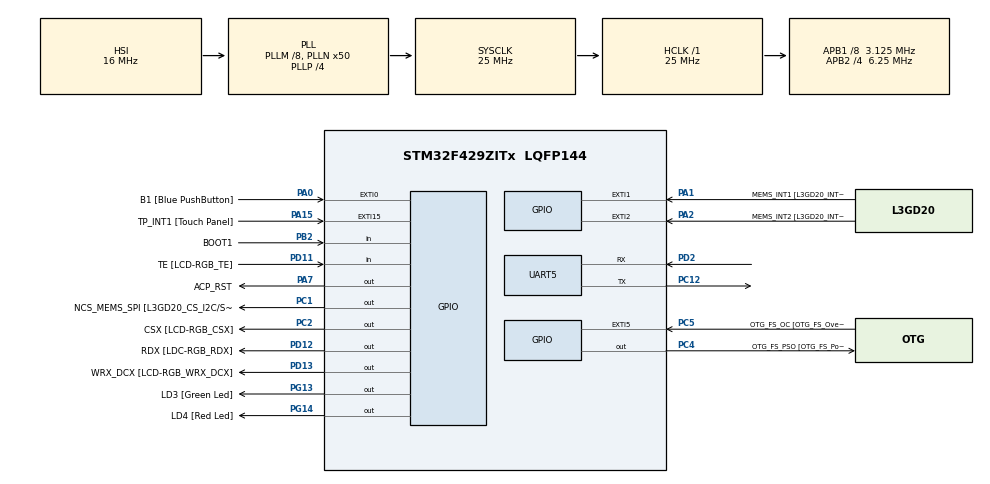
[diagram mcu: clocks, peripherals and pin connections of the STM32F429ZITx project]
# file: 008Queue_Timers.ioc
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Mcu.Family=STM32F4
Mcu.Name=STM32F429ZITx
Mcu.Package=LQFP144
NVIC.PriorityGroup=NVIC_PRIORITYGROUP_4
NVIC.TIM6_DAC_IRQn=true\:15\:0\:false\:false\:true\:false\:true\:true
NVIC.TimeBase=TIM6_DAC_IRQn
NVIC.TimeBaseIP=TIM6
NVIC.UART5_IRQn=true\:6\:0\:true\:false\:true\:true\:true\:true
PA0/WKUP.GPIO_Label=B1 [Blue PushButton]
PA0/WKUP.GPIO_ModeDefaultEXTI=GPIO_MODE_EVT_RISING
PA0/WKUP.GPIO_PuPd=GPIO_NOPULL
PA0/WKUP.Signal=GPXTI0
PA1.GPIO_Label=MEMS_INT1 [L3GD20_INT1]
PA1.GPIO_ModeDefaultEXTI=GPIO_MODE_EVT_RISING
PA1.GPIO_PuPd=GPIO_NOPULL
PA1.Signal=GPXTI1
PA10.GPIO_Label=STLINK_TX [STM32F103CBT6_PA2]
PA10.Signal=USART1_RX
PA11.GPIO_Label=R4
PA11.GPIO_Mode=GPIO_MODE_AF_PP
PA11.GPIO_PuPd=GPIO_NOPULL
PA11.GPIO_Speed=GPIO_SPEED_FREQ_LOW
PA11.Signal=LTDC_R4
PA12.GPIO_Label=R5
PA12.GPIO_Mode=GPIO_MODE_AF_PP
PA12.GPIO_PuPd=GPIO_NOPULL
PA12.GPIO_Speed=GPIO_SPEED_FREQ_LOW
PA12.Signal=LTDC_R5
PA13.GPIO_Label=SWDIO
PA13.Signal=SYS_JTMS-SWDIO
PA14.GPIO_Label=SWCLK
PA14.Signal=SYS_JTCK-SWCLK
PA15.GPIO_Label=TP_INT1 [Touch Panel]
PA15.GPIO_ModeDefaultEXTI=GPIO_MODE_EVT_RISING
PA15.GPIO_PuPd=GPIO_NOPULL
PA15.Signal=GPXTI15
PA2.GPIO_Label=MEMS_INT2 [L3GD20_INT2]
PA2.GPIO_ModeDefaultEXTI=GPIO_MODE_EVT_RISING
PA2.GPIO_PuPd=GPIO_NOPULL
PA2.Signal=GPXTI2
PA3.GPIO_Label=B5
PA3.GPIO_Mode=GPIO_MODE_AF_PP
PA3.GPIO_PuPd=GPIO_NOPULL
PA3.GPIO_Speed=GPIO_SPEED_FREQ_LOW
PA3.Signal=LTDC_B5
PA4.GPIO_Label=VSYNC
PA4.GPIO_Mode=GPIO_MODE_AF_PP
PA4.GPIO_PuPd=GPIO_NOPULL
PA4.GPIO_Speed=GPIO_SPEED_FREQ_LOW
PA4.Signal=LTDC_VSYNC
PA6.GPIO_Label=G2
PA6.GPIO_Mode=GPIO_MODE_AF_PP
PA6.GPIO_PuPd=GPIO_NOPULL
PA6.GPIO_Speed=GPIO_SPEED_FREQ_LOW
PA6.Signal=LTDC_G2
PA7.GPIO_Label=ACP_RST
PA7.GPIO_Mode=GPIO_MODE_OUTPUT_PP
PA7.GPIO_PuPd=GPIO_NOPULL
PA7.GPIO_Speed=GPIO_SPEED_FREQ_LOW
PA7.Signal=GPIO_Output
PA8.GPIO_Label=I2C3_SCL [ACP/RF_SCL]
PA8.GPIO_Mode=GPIO_MODE_AF_OD
PA8.GPIO_PuPd=GPIO_NOPULL
PA8.GPIO_Speed=GPIO_SPEED_FREQ_LOW
PA8.Signal=I2C3_SCL
PA9.GPIO_Label=STLINK_RX [STM32F103CBT6_PA3]
PA9.Signal=USART1_TX
PB0.GPIO_Label=R3
PB0.GPIO_Mode=GPIO_MODE_AF_PP
PB0.GPIO_PuPd=GPIO_NOPULL
PB0.GPIO_Speed=GPIO_SPEED_FREQ_LOW
PB0.Signal=LTDC_R3
PB1.GPIO_Label=R6
PB1.GPIO_Mode=GPIO_MODE_AF_PP
PB1.GPIO_PuPd=GPIO_NOPULL
PB1.GPIO_Speed=GPIO_SPEED_FREQ_LOW
PB1.Signal=LTDC_R6
PB10.GPIO_Label=G4
PB10.GPIO_Mode=GPIO_MODE_AF_PP
PB10.GPIO_PuPd=GPIO_NOPULL
PB10.GPIO_Speed=GPIO_SPEED_FREQ_LOW
PB10.Signal=LTDC_G4
PB11.GPIO_Label=G5
PB11.GPIO_Mode=GPIO_MODE_AF_PP
PB11.GPIO_PuPd=GPIO_NOPULL
PB11.GPIO_Speed=GPIO_SPEED_FREQ_LOW
PB11.Signal=LTDC_G5
PB12.GPIO_Label=OTG_HS_ID
PB12.GPIO_Mode=GPIO_MODE_AF_PP
PB12.GPIO_PuPd=GPIO_NOPULL
PB12.GPIO_Speed=GPIO_SPEED_FREQ_LOW
PB12.Signal=USB_OTG_HS_ID
PB13.GPIO_Label=VBUS_HS
PB13.GPIO_Mode=GPIO_MODE_INPUT
PB13.GPIO_PuPd=GPIO_NOPULL
PB13.Signal=USB_OTG_HS_VBUS
PB14.GPIO_Label=OTG_HS_DM
PB14.GPIO_Mode=GPIO_MODE_AF_PP
PB14.GPIO_PuPd=GPIO_NOPULL
PB14.GPIO_Speed=GPIO_SPEED_FREQ_LOW
PB14.Signal=USB_OTG_HS_DM
PB15.GPIO_Label=OTG_HS_DP
PB15.GPIO_Mode=GPIO_MODE_AF_PP
PB15.GPIO_PuPd=GPIO_NOPULL
PB15.GPIO_Speed=GPIO_SPEED_FREQ_LOW
PB15.Signal=USB_OTG_HS_DP
PB2/BOOT1.GPIO_Label=BOOT1
PB2/BOOT1.GPIO_Mode=GPIO_MODE_INPUT
PB2/BOOT1.GPIO_PuPd=GPIO_NOPULL
PB2/BOOT1.Signal=GPIO_Input
PB5.GPIO_Label=SDCKE1
PB5.GPIO_Mode=GPIO_MODE_AF_PP
PB5.GPIO_PuPd=GPIO_NOPULL
PB5.GPIO_Speed=GPIO_SPEED_FREQ_VERY_HIGH
PB5.Signal=FMC_SDCKE1
PB6.GPIO_Label=SDNE1 [SDRAM_CS]
PB6.GPIO_Mode=GPIO_MODE_AF_PP
PB6.GPIO_PuPd=GPIO_NOPULL
PB6.GPIO_Speed=GPIO_SPEED_FREQ_VERY_HIGH
PB6.Signal=FMC_SDNE1
PB8.GPIO_Label=B6
PB8.GPIO_Mode=GPIO_MODE_AF_PP
PB8.GPIO_PuPd=GPIO_NOPULL
PB8.GPIO_Speed=GPIO_SPEED_FREQ_LOW
PB8.Signal=LTDC_B6
PB9.GPIO_Label=B7
PB9.GPIO_Mode=GPIO_MODE_AF_PP
PB9.GPIO_PuPd=GPIO_NOPULL
PB9.GPIO_Speed=GPIO_SPEED_FREQ_LOW
PB9.Signal=LTDC_B7
PC0.GPIO_Label=SDNWE
PC0.GPIO_Mode=GPIO_MODE_AF_PP
PC0.GPIO_PuPd=GPIO_NOPULL
PC0.GPIO_Speed=GPIO_SPEED_FREQ_VERY_HIGH
PC0.Signal=FMC_SDNWE
PC1.GPIO_Label=NCS_MEMS_SPI [L3GD20_CS_I2C/SPI]
PC1.GPIO_Mode=GPIO_MODE_OUTPUT_PP
PC1.GPIO_PuPd=GPIO_NOPULL
PC1.GPIO_Speed=GPIO_SPEED_FREQ_LOW
PC1.Signal=GPIO_Output
PC10.GPIO_Label=R2
PC10.GPIO_Mode=GPIO_MODE_AF_PP
PC10.GPIO_PuPd=GPIO_NOPULL
PC10.GPIO_Speed=GPIO_SPEED_FREQ_LOW
PC10.Signal=LTDC_R2
PC12.Mode=Asynchronous
PC12.Signal=UART5_TX
PC14/OSC32_IN.GPIO_Label=PC14-OSC32_IN
PC14/OSC32_IN.Signal=RCC_OSC32_IN
PC15/OSC32_OUT.GPIO_Label=PC15-OSC32_OUT
PC15/OSC32_OUT.Signal=RCC_OSC32_OUT
PC2.GPIO_Label=CSX [LCD-RGB_CSX]
PC2.GPIO_Mode=GPIO_MODE_OUTPUT_PP
PC2.GPIO_PuPd=GPIO_NOPULL
PC2.GPIO_Speed=GPIO_SPEED_FREQ_LOW
PC2.Signal=GPIO_Output
PC4.GPIO_Label=OTG_FS_PSO [OTG_FS_PowerSwitchOn]
PC4.GPIO_Mode=GPIO_MODE_OUTPUT_PP
PC4.GPIO_PuPd=GPIO_NOPULL
PC4.GPIO_Speed=GPIO_SPEED_FREQ_LOW
PC4.Signal=GPIO_Output
PC5.GPIO_Label=OTG_FS_OC [OTG_FS_OverCurrent]
PC5.GPIO_ModeDefaultEXTI=GPIO_MODE_EVT_RISING
PC5.Signal=GPXTI5
PC6.GPIO_Label=HSYNC
PC6.GPIO_Mode=GPIO_MODE_AF_PP
PC6.GPIO_PuPd=GPIO_NOPULL
PC6.GPIO_Speed=GPIO_SPEED_FREQ_LOW
PC6.Signal=LTDC_HSYNC
PC7.GPIO_Label=G6
PC7.GPIO_Mode=GPIO_MODE_AF_PP
PC7.GPIO_PuPd=GPIO_NOPULL
PC7.GPIO_Speed=GPIO_SPEED_FREQ_LOW
PC7.Signal=LTDC_G6
PC9.GPIO_Label=I2C3_SDA [ACP/RF_SDA]
PC9.GPIO_Mode=GPIO_MODE_AF_OD
PC9.GPIO_PuPd=GPIO_NOPULL
PC9.GPIO_Speed=GPIO_SPEED_FREQ_LOW
PC9.Signal=I2C3_SDA
PD0.GPIO_Label=D2
PD0.GPIO_Mode=GPIO_MODE_AF_PP
PD0.GPIO_PuPd=GPIO_NOPULL
PD0.GPIO_Speed=GPIO_SPEED_FREQ_VERY_HIGH
PD0.Signal=FMC_D2_DA2
PD1.GPIO_Label=D3
PD1.GPIO_Mode=GPIO_MODE_AF_PP
PD1.GPIO_PuPd=GPIO_NOPULL
PD1.GPIO_Speed=GPIO_SPEED_FREQ_VERY_HIGH
PD1.Signal=FMC_D3_DA3
PD10.GPIO_Label=D15
PD10.GPIO_Mode=GPIO_MODE_AF_PP
PD10.GPIO_PuPd=GPIO_NOPULL
PD10.GPIO_Speed=GPIO_SPEED_FREQ_VERY_HIGH
PD10.Signal=FMC_D15_DA15
PD11.GPIO_Label=TE [LCD-RGB_TE]
PD11.GPIO_Mode=GPIO_MODE_INPUT
PD11.GPIO_PuPd=GPIO_NOPULL
PD11.Signal=GPIO_Input
PD12.GPIO_Label=RDX [LDC-RGB_RDX]
PD12.GPIO_Mode=GPIO_MODE_OUTPUT_PP
PD12.GPIO_PuPd=GPIO_NOPULL
PD12.GPIO_Speed=GPIO_SPEED_FREQ_LOW
PD12.Signal=GPIO_Output
PD13.GPIO_Label=WRX_DCX [LCD-RGB_WRX_DCX]
PD13.GPIO_Mode=GPIO_MODE_OUTPUT_PP
PD13.GPIO_PuPd=GPIO_NOPULL
PD13.GPIO_Speed=GPIO_SPEED_FREQ_LOW
PD13.Signal=GPIO_Output
PD14.GPIO_Label=D0
PD14.GPIO_Mode=GPIO_MODE_AF_PP
PD14.GPIO_PuPd=GPIO_NOPULL
PD14.GPIO_Speed=GPIO_SPEED_FREQ_VERY_HIGH
PD14.Signal=FMC_D0_DA0
PD15.GPIO_Label=D1
PD15.GPIO_Mode=GPIO_MODE_AF_PP
PD15.GPIO_PuPd=GPIO_NOPULL
PD15.GPIO_Speed=GPIO_SPEED_FREQ_VERY_HIGH
PD15.Signal=FMC_D1_DA1
PD2.Mode=Asynchronous
PD2.Signal=UART5_RX
PD3.GPIO_Label=G7
PD3.GPIO_Mode=GPIO_MODE_AF_PP
PD3.GPIO_PuPd=GPIO_NOPULL
PD3.GPIO_Speed=GPIO_SPEED_FREQ_LOW
PD3.Signal=LTDC_G7
PD6.GPIO_Label=B2
PD6.GPIO_Mode=GPIO_MODE_AF_PP
PD6.GPIO_PuPd=GPIO_NOPULL
PD6.GPIO_Speed=GPIO_SPEED_FREQ_LOW
PD6.Signal=LTDC_B2
PD8.GPIO_Label=D13
PD8.GPIO_Mode=GPIO_MODE_AF_PP
PD8.GPIO_PuPd=GPIO_NOPULL
PD8.GPIO_Speed=GPIO_SPEED_FREQ_VERY_HIGH
PD8.Signal=FMC_D13_DA13
PD9.GPIO_Label=D14
PD9.GPIO_Mode=GPIO_MODE_AF_PP
PD9.GPIO_PuPd=GPIO_NOPULL
PD9.GPIO_Speed=GPIO_SPEED_FREQ_VERY_HIGH
PD9.Signal=FMC_D14_DA14
PE0.GPIO_Label=NBL0 [SDRAM_LDQM]
PE0.GPIO_Mode=GPIO_MODE_AF_PP
PE0.GPIO_PuPd=GPIO_NOPULL
PE0.GPIO_Speed=GPIO_SPEED_FREQ_VERY_HIGH
PE0.Signal=FMC_NBL0
PE1.GPIO_Label=NBL1 [SDRAM_UDQM]
PE1.GPIO_Mode=GPIO_MODE_AF_PP
PE1.GPIO_PuPd=GPIO_NOPULL
PE1.GPIO_Speed=GPIO_SPEED_FREQ_VERY_HIGH
PE1.Signal=FMC_NBL1
PE10.GPIO_Label=D7
PE10.GPIO_Mode=GPIO_MODE_AF_PP
PE10.GPIO_PuPd=GPIO_NOPULL
PE10.GPIO_Speed=GPIO_SPEED_FREQ_VERY_HIGH
PE10.Signal=FMC_D7_DA7
PE11.GPIO_Label=D8
PE11.GPIO_Mode=GPIO_MODE_AF_PP
PE11.GPIO_PuPd=GPIO_NOPULL
PE11.GPIO_Speed=GPIO_SPEED_FREQ_VERY_HIGH
PE11.Signal=FMC_D8_DA8
PE12.GPIO_Label=D9
PE12.GPIO_Mode=GPIO_MODE_AF_PP
PE12.GPIO_PuPd=GPIO_NOPULL
PE12.GPIO_Speed=GPIO_SPEED_FREQ_VERY_HIGH
PE12.Signal=FMC_D9_DA9
PE13.GPIO_Label=D10
PE13.GPIO_Mode=GPIO_MODE_AF_PP
PE13.GPIO_PuPd=GPIO_NOPULL
PE13.GPIO_Speed=GPIO_SPEED_FREQ_VERY_HIGH
PE13.Signal=FMC_D10_DA10
PE14.GPIO_Label=D11
PE14.GPIO_Mode=GPIO_MODE_AF_PP
PE14.GPIO_PuPd=GPIO_NOPULL
PE14.GPIO_Speed=GPIO_SPEED_FREQ_VERY_HIGH
PE14.Signal=FMC_D11_DA11
PE15.GPIO_Label=D12
PE15.GPIO_Mode=GPIO_MODE_AF_PP
PE15.GPIO_PuPd=GPIO_NOPULL
PE15.GPIO_Speed=GPIO_SPEED_FREQ_VERY_HIGH
PE15.Signal=FMC_D12_DA12
PE7.GPIO_Label=D4
PE7.GPIO_Mode=GPIO_MODE_AF_PP
PE7.GPIO_PuPd=GPIO_NOPULL
PE7.GPIO_Speed=GPIO_SPEED_FREQ_VERY_HIGH
PE7.Signal=FMC_D4_DA4
PE8.GPIO_Label=D5
PE8.GPIO_Mode=GPIO_MODE_AF_PP
PE8.GPIO_PuPd=GPIO_NOPULL
PE8.GPIO_Speed=GPIO_SPEED_FREQ_VERY_HIGH
PE8.Signal=FMC_D5_DA5
PE9.GPIO_Label=D6
PE9.GPIO_Mode=GPIO_MODE_AF_PP
PE9.GPIO_PuPd=GPIO_NOPULL
PE9.GPIO_Speed=GPIO_SPEED_FREQ_VERY_HIGH
PE9.Signal=FMC_D6_DA6
PF0.GPIO_Label=A0
PF0.GPIO_Mode=GPIO_MODE_AF_PP
PF0.GPIO_PuPd=GPIO_NOPULL
PF0.GPIO_Speed=GPIO_SPEED_FREQ_VERY_HIGH
PF0.Signal=FMC_A0
PF1.GPIO_Label=A1
PF1.GPIO_Mode=GPIO_MODE_AF_PP
PF1.GPIO_PuPd=GPIO_NOPULL
PF1.GPIO_Speed=GPIO_SPEED_FREQ_VERY_HIGH
PF1.Signal=FMC_A1
PF10.GPIO_Label=ENABLE [LCD-RGB_ENABLE]
PF10.GPIO_Mode=GPIO_MODE_AF_PP
PF10.GPIO_PuPd=GPIO_NOPULL
PF10.GPIO_Speed=GPIO_SPEED_FREQ_LOW
PF10.Signal=LTDC_DE
PF11.GPIO_Label=SDNRAS
PF11.GPIO_Mode=GPIO_MODE_AF_PP
PF11.GPIO_PuPd=GPIO_NOPULL
PF11.GPIO_Speed=GPIO_SPEED_FREQ_VERY_HIGH
PF11.Signal=FMC_SDNRAS
PF12.GPIO_Label=A6
PF12.GPIO_Mode=GPIO_MODE_AF_PP
PF12.GPIO_PuPd=GPIO_NOPULL
PF12.GPIO_Speed=GPIO_SPEED_FREQ_VERY_HIGH
PF12.Signal=FMC_A6
PF13.GPIO_Label=A7
PF13.GPIO_Mode=GPIO_MODE_AF_PP
PF13.GPIO_PuPd=GPIO_NOPULL
PF13.GPIO_Speed=GPIO_SPEED_FREQ_VERY_HIGH
PF13.Signal=FMC_A7
PF14.GPIO_Label=A8
PF14.GPIO_Mode=GPIO_MODE_AF_PP
PF14.GPIO_PuPd=GPIO_NOPULL
PF14.GPIO_Speed=GPIO_SPEED_FREQ_VERY_HIGH
PF14.Signal=FMC_A8
PF15.GPIO_Label=A9
PF15.GPIO_Mode=GPIO_MODE_AF_PP
PF15.GPIO_PuPd=GPIO_NOPULL
PF15.GPIO_Speed=GPIO_SPEED_FREQ_VERY_HIGH
PF15.Signal=FMC_A9
PF2.GPIO_Label=A2
PF2.GPIO_Mode=GPIO_MODE_AF_PP
PF2.GPIO_PuPd=GPIO_NOPULL
PF2.GPIO_Speed=GPIO_SPEED_FREQ_VERY_HIGH
PF2.Signal=FMC_A2
PF3.GPIO_Label=A3
PF3.GPIO_Mode=GPIO_MODE_AF_PP
PF3.GPIO_PuPd=GPIO_NOPULL
PF3.GPIO_Speed=GPIO_SPEED_FREQ_VERY_HIGH
PF3.Signal=FMC_A3
PF4.GPIO_Label=A4
PF4.GPIO_Mode=GPIO_MODE_AF_PP
PF4.GPIO_PuPd=GPIO_NOPULL
PF4.GPIO_Speed=GPIO_SPEED_FREQ_VERY_HIGH
PF4.Signal=FMC_A4
PF5.GPIO_Label=A5
PF5.GPIO_Mode=GPIO_MODE_AF_PP
PF5.GPIO_PuPd=GPIO_NOPULL
PF5.GPIO_Speed=GPIO_SPEED_FREQ_VERY_HIGH
PF5.Signal=FMC_A5
PF7.GPIO_Label=SPI5_SCK [L3GD20_SCL/SPC]
PF7.GPIO_Mode=GPIO_MODE_AF_PP
PF7.GPIO_PuPd=GPIO_NOPULL
PF7.GPIO_Speed=GPIO_SPEED_FREQ_LOW
PF7.Signal=SPI5_SCK
PF8.GPIO_Label=SPI5_MISO [L3GD20_SDO]
PF8.GPIO_Mode=GPIO_MODE_AF_PP
PF8.GPIO_PuPd=GPIO_NOPULL
PF8.GPIO_Speed=GPIO_SPEED_FREQ_LOW
PF8.Signal=SPI5_MISO
PF9.GPIO_Label=SPI5_MOSI [L3GD20_SDA/SDI/SDO]
PF9.GPIO_Mode=GPIO_MODE_AF_PP
PF9.GPIO_PuPd=GPIO_NOPULL
PF9.GPIO_Speed=GPIO_SPEED_FREQ_LOW
PF9.Signal=SPI5_MOSI
PG0.GPIO_Label=A10
PG0.GPIO_Mode=GPIO_MODE_AF_PP
PG0.GPIO_PuPd=GPIO_NOPULL
PG0.GPIO_Speed=GPIO_SPEED_FREQ_VERY_HIGH
PG0.Signal=FMC_A10
PG1.GPIO_Label=A11
PG1.GPIO_Mode=GPIO_MODE_AF_PP
PG1.GPIO_PuPd=GPIO_NOPULL
PG1.GPIO_Speed=GPIO_SPEED_FREQ_VERY_HIGH
PG1.Signal=FMC_A11
PG10.GPIO_Label=G3
PG10.GPIO_Mode=GPIO_MODE_AF_PP
PG10.GPIO_PuPd=GPIO_NOPULL
PG10.GPIO_Speed=GPIO_SPEED_FREQ_LOW
PG10.Signal=LTDC_G3
PG11.GPIO_Label=B3
PG11.GPIO_Mode=GPIO_MODE_AF_PP
PG11.GPIO_PuPd=GPIO_NOPULL
PG11.GPIO_Speed=GPIO_SPEED_FREQ_LOW
PG11.Signal=LTDC_B3
PG12.GPIO_Label=B4
PG12.GPIO_Mode=GPIO_MODE_AF_PP
PG12.GPIO_PuPd=GPIO_NOPULL
PG12.GPIO_Speed=GPIO_SPEED_FREQ_LOW
PG12.Signal=LTDC_B4
PG13.GPIO_Label=LD3 [Green Led]
PG13.GPIO_Mode=GPIO_MODE_OUTPUT_PP
PG13.GPIO_PuPd=GPIO_NOPULL
PG13.GPIO_Speed=GPIO_SPEED_FREQ_LOW
PG13.Signal=GPIO_Output
PG14.GPIO_Label=LD4 [Red Led]
PG14.GPIO_Mode=GPIO_MODE_OUTPUT_PP
PG14.GPIO_PuPd=GPIO_NOPULL
PG14.GPIO_Speed=GPIO_SPEED_FREQ_LOW
PG14.Signal=GPIO_Output
PG15.GPIO_Label=SDNCAS
PG15.GPIO_Mode=GPIO_MODE_AF_PP
PG15.GPIO_PuPd=GPIO_NOPULL
PG15.GPIO_Speed=GPIO_SPEED_FREQ_VERY_HIGH
PG15.Signal=FMC_SDNCAS
PG4.GPIO_Label=BA0
PG4.GPIO_Mode=GPIO_MODE_AF_PP
PG4.GPIO_PuPd=GPIO_NOPULL
PG4.GPIO_Speed=GPIO_SPEED_FREQ_VERY_HIGH
PG4.Signal=FMC_A14_BA0
PG5.GPIO_Label=BA1
PG5.GPIO_Mode=GPIO_MODE_AF_PP
PG5.GPIO_PuPd=GPIO_NOPULL
PG5.GPIO_Speed=GPIO_SPEED_FREQ_VERY_HIGH
PG5.Signal=FMC_A15_BA1
PG6.GPIO_Label=R7
PG6.GPIO_Mode=GPIO_MODE_AF_PP
PG6.GPIO_PuPd=GPIO_NOPULL
PG6.GPIO_Speed=GPIO_SPEED_FREQ_LOW
PG6.Signal=LTDC_R7
PG7.GPIO_Label=DOTCLK [LCT-RGB_DOTCLK]
PG7.GPIO_Mode=GPIO_MODE_AF_PP
PG7.GPIO_PuPd=GPIO_NOPULL
PG7.GPIO_Speed=GPIO_SPEED_FREQ_LOW
PG7.Signal=LTDC_CLK
PG8.GPIO_Label=SDCLK
PG8.GPIO_Mode=GPIO_MODE_AF_PP
PG8.GPIO_PuPd=GPIO_NOPULL
PG8.GPIO_Speed=GPIO_SPEED_FREQ_VERY_HIGH
PG8.Signal=FMC_SDCLK
PH0/OSC_IN.GPIO_Label=PH0-OSC_IN
PH0/OSC_IN.Signal=RCC_OSC_IN
PH1/OSC_OUT.GPIO_Label=PH1-OSC_OUT
PH1/OSC_OUT.Signal=RCC_OSC_OUT
ProjectManager.HeapSize=0x200
ProjectManager.StackSize=0x400
ProjectManager.TargetToolchain=STM32CubeIDE
RCC.48MHZClocksFreq_Value=14285714.285714285
RCC.AHBFreq_Value=25000000
RCC.APB1CLKDivider=RCC_HCLK_DIV8
RCC.APB1Freq_Value=3125000
RCC.APB1TimFreq_Value=6250000
RCC.APB2CLKDivider=RCC_HCLK_DIV4
RCC.APB2Freq_Value=6250000
RCC.APB2TimFreq_Value=12500000
RCC.CortexFreq_Value=25000000
RCC.HCLKFreq_Value=25000000
RCC.HSE_VALUE=8000000
RCC.HSI_VALUE=16000000
RCC.LSE_VALUE=32768
RCC.PLLM=8
RCC.PLLN=50
RCC.PLLP=RCC_PLLP_DIV4
RCC.PLLQ=7
RCC.SYSCLKFreq_VALUE=25000000
RCC.SYSCLKSource=RCC_SYSCLKSOURCE_PLLCLK
RCC.VCOOutputFreq_Value=100000000
RTC.HourFormat=RTC_HOURFORMAT_12
SH.FMC_A0.0=FMC_A0
SH.FMC_A1.0=FMC_A1
SH.FMC_A10.0=FMC_A10
SH.FMC_A11.0=FMC_A11
SH.FMC_A14_BA0.0=FMC_BA0
SH.FMC_A15_BA1.0=FMC_BA1
SH.FMC_A2.0=FMC_A2
SH.FMC_A3.0=FMC_A3
SH.FMC_A4.0=FMC_A4
SH.FMC_A5.0=FMC_A5
SH.FMC_A6.0=FMC_A6
SH.FMC_A7.0=FMC_A7
SH.FMC_A8.0=FMC_A8
SH.FMC_A9.0=FMC_A9
SH.FMC_D0_DA0.0=FMC_D0
SH.FMC_D10_DA10.0=FMC_D10
SH.FMC_D11_DA11.0=FMC_D11
SH.FMC_D12_DA12.0=FMC_D12
SH.FMC_D13_DA13.0=FMC_D13
SH.FMC_D14_DA14.0=FMC_D14
SH.FMC_D15_DA15.0=FMC_D15
SH.FMC_D1_DA1.0=FMC_D1
SH.FMC_D2_DA2.0=FMC_D2
SH.FMC_D3_DA3.0=FMC_D3
SH.FMC_D4_DA4.0=FMC_D4
SH.FMC_D5_DA5.0=FMC_D5
SH.FMC_D6_DA6.0=FMC_D6
SH.FMC_D7_DA7.0=FMC_D7
SH.FMC_D8_DA8.0=FMC_D8
SH.FMC_D9_DA9.0=FMC_D9
SH.FMC_NBL0.0=FMC_NBL0
SH.FMC_NBL1.0=FMC_NBL1
SH.FMC_SDCLK.0=FMC_SDCLK
SH.FMC_SDNCAS.0=FMC_SDNCAS
SH.FMC_SDNRAS.0=FMC_SDNRAS
SH.FMC_SDNWE.0=FMC_SDNWE
UART5.VirtualMode=Asynchronous
VP_RTC_VS_RTC_Activate.Mode=RTC_Enabled
VP_SYS_VS_tim6.Mode=TIM6
board=STM32F429I-DISC1

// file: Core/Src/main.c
/* USER CODE BEGIN Header */
/**
  ******************************************************************************
  * @file           : main.c
  * @brief          : Main program body
  ******************************************************************************
  * @attention
  *
  * Copyright (c) 2024 STMicroelectronics.
  * All rights reserved.
  *
  * This software is licensed under terms that can be found in the LICENSE file
  * in the root directory of this software component.
  * If no LICENSE file comes with this software, it is provided AS-IS.
  *
  ******************************************************************************
  */
/* USER CODE END Header */
#include "main.h"

/* USER CODE BEGIN Includes */
#include <stdio.h>
#include "FreeRTOS.h"
#include "task.h"
#include "queue.h"
#include "timers.h"
#include "led.h"

/* USER CODE END Includes */

RTC_HandleTypeDef hrtc;

UART_HandleTypeDef huart5;

/* USER CODE BEGIN PV */

TaskHandle_t xTaskHandles[ 5 ] = {0};

//TaskHandle_t xMenuTaskHandle = NULL;
//TaskHandle_t xCmdTaskHandle = NULL;
//TaskHandle_t xPrintTaskHandle = NULL;
//TaskHandle_t xLedTaskHandle = NULL;
//TaskHandle_t xRtcTaskHandle = NULL;

QueueHandle_t xQueues[ 2 ] = {0};

UART_HandleTypeDef huart5;
uint8_t user_data = 0;

/* USER CODE END PV */

void SystemClock_Config(void);
static void MX_GPIO_Init(void);
static void MX_RTC_Init(void);
static void MX_UART5_Init(void);
/* USER CODE BEGIN PFP */

extern void menu_task(void *pvParam);
extern void cmd_handler_task(void *pvParam);
extern void print_task(void *pvParam);
extern void led_task(void *pvParam);
extern void rtc_task(void *pvParam);

/* LED timer software handles */
extern TimerHandle_t xLedTimers[ 3 ];
extern void LedEffectCallback(TimerHandle_t xTimer);

/* USER CODE END PFP */

int main(void)
{
  /* USER CODE BEGIN 1 */
  BaseType_t xReturned;
  /* USER CODE END 1 */

  /* MCU Configuration--------------------------------------------------------*/

  /* Reset of all peripherals, Initializes the Flash interface and the Systick. */
  HAL_Init();

  /* Configure the system clock */
  SystemClock_Config();

  /* Initialize all configured peripherals */
  MX_GPIO_Init();
  MX_RTC_Init();
  MX_UART5_Init();
  /* USER CODE BEGIN 2 */

  /* create tasks */
  xReturned = xTaskCreate(menu_task, "menu_task", 250, NULL, 2, &xTaskHandles[TMAIN]);
  configASSERT(pdPASS == xReturned);

  xReturned = xTaskCreate(cmd_handler_task, "cmd_handler_task", 250, NULL, 2, &xTaskHandles[TCMD]);
  configASSERT(pdPASS == xReturned);

  xReturned = xTaskCreate(print_task, "print_task", 250, NULL, 2, &xTaskHandles[TPRINT]);
  configASSERT(pdPASS == xReturned);

  xReturned = xTaskCreate(led_task, "led_task", 250, NULL, 2, &xTaskHandles[TLED]);
  configASSERT(pdPASS == xReturned);

  xReturned = xTaskCreate(rtc_task, "rtc_task", 250, NULL, 2, &xTaskHandles[TRTC]);
  configASSERT(pdPASS == xReturned);

  /* create queues */

  xQueues[QDATA] = xQueueCreate(10, sizeof(char));
  configASSERT(xQueues[QDATA] != NULL);

  xQueues[QPRINT] = xQueueCreate(10, sizeof(uint32_t));
  configASSERT(xQueues[QPRINT] != NULL);

  /* Create timers */
  for(int i = 0; i < 3; i++) {
	  char cTimerName[15];
	  snprintf(cTimerName, sizeof(cTimerName), "LED Timer %d", i);
	  xLedTimers[EFFECT_1 + i] = xTimerCreate(cTimerName, pdMS_TO_TICKS(500), pdTRUE, (void*)i, LedEffectCallback);
	  configASSERT(xLedTimers[EFFECT_1 + i] != NULL);
  }

  HAL_UART_Receive_IT(&huart5, &user_data, sizeof(user_data));

  vTaskStartScheduler();

  /* USER CODE END 2 */

  /* Infinite loop */
  while (1)
  {

  }
}

void SystemClock_Config(void)
{
  RCC_OscInitTypeDef RCC_OscInitStruct = {0};
  RCC_ClkInitTypeDef RCC_ClkInitStruct = {0};

  /** Configure the main internal regulator output voltage
  */
  __HAL_RCC_PWR_CLK_ENABLE();
  __HAL_PWR_VOLTAGESCALING_CONFIG(PWR_REGULATOR_VOLTAGE_SCALE3);

  /** Initializes the RCC Oscillators according to the specified parameters
  * in the RCC_OscInitTypeDef structure.
  */
  RCC_OscInitStruct.OscillatorType = RCC_OSCILLATORTYPE_HSI|RCC_OSCILLATORTYPE_LSI;
  RCC_OscInitStruct.HSIState = RCC_HSI_ON;
  RCC_OscInitStruct.HSICalibrationValue = RCC_HSICALIBRATION_DEFAULT;
  RCC_OscInitStruct.LSIState = RCC_LSI_ON;
  RCC_OscInitStruct.PLL.PLLState = RCC_PLL_ON;
  RCC_OscInitStruct.PLL.PLLSource = RCC_PLLSOURCE_HSI;
  RCC_OscInitStruct.PLL.PLLM = 8;
  RCC_OscInitStruct.PLL.PLLN = 50;
  RCC_OscInitStruct.PLL.PLLP = RCC_PLLP_DIV4;
  RCC_OscInitStruct.PLL.PLLQ = 7;
  if (HAL_RCC_OscConfig(&RCC_OscInitStruct) != HAL_OK)
  {
    Error_Handler();
  }

  /** Initializes the CPU, AHB and APB buses clocks
  */
  RCC_ClkInitStruct.ClockType = RCC_CLOCKTYPE_HCLK|RCC_CLOCKTYPE_SYSCLK
                              |RCC_CLOCKTYPE_PCLK1|RCC_CLOCKTYPE_PCLK2;
  RCC_ClkInitStruct.SYSCLKSource = RCC_SYSCLKSOURCE_PLLCLK;
  RCC_ClkInitStruct.AHBCLKDivider = RCC_SYSCLK_DIV1;
  RCC_ClkInitStruct.APB1CLKDivider = RCC_HCLK_DIV8;
  RCC_ClkInitStruct.APB2CLKDivider = RCC_HCLK_DIV4;

  if (HAL_RCC_ClockConfig(&RCC_ClkInitStruct, FLASH_LATENCY_0) != HAL_OK)
  {
    Error_Handler();
  }
}

static void MX_RTC_Init(void)
{

  /** Initialize RTC Only
  */
  hrtc.Instance = RTC;
  hrtc.Init.HourFormat = RTC_HOURFORMAT_12;
  hrtc.Init.AsynchPrediv = 127;
  hrtc.Init.SynchPrediv = 255;
  hrtc.Init.OutPut = RTC_OUTPUT_DISABLE;
  hrtc.Init.OutPutPolarity = RTC_OUTPUT_POLARITY_HIGH;
  hrtc.Init.OutPutType = RTC_OUTPUT_TYPE_OPENDRAIN;
  if (HAL_RTC_Init(&hrtc) != HAL_OK)
  {
    Error_Handler();
  }

}

static void MX_UART5_Init(void)
{

  huart5.Instance = UART5;
  huart5.Init.BaudRate = 115200;
  huart5.Init.WordLength = UART_WORDLENGTH_8B;
  huart5.Init.StopBits = UART_STOPBITS_1;
  huart5.Init.Parity = UART_PARITY_NONE;
  huart5.Init.Mode = UART_MODE_TX_RX;
  huart5.Init.HwFlowCtl = UART_HWCONTROL_NONE;
  huart5.Init.OverSampling = UART_OVERSAMPLING_16;
  if (HAL_UART_Init(&huart5) != HAL_OK)
  {
    Error_Handler();
  }

}

static void MX_GPIO_Init(void)
{
  GPIO_InitTypeDef GPIO_InitStruct = {0};

  /* GPIO Ports Clock Enable */
  __HAL_RCC_GPIOC_CLK_ENABLE();
  __HAL_RCC_GPIOF_CLK_ENABLE();
  __HAL_RCC_GPIOH_CLK_ENABLE();
  __HAL_RCC_GPIOA_CLK_ENABLE();
  __HAL_RCC_GPIOB_CLK_ENABLE();
  __HAL_RCC_GPIOG_CLK_ENABLE();
  __HAL_RCC_GPIOE_CLK_ENABLE();
  __HAL_RCC_GPIOD_CLK_ENABLE();

  /*Configure GPIO pin Output Level */
  HAL_GPIO_WritePin(GPIOC, NCS_MEMS_SPI_Pin|CSX_Pin|OTG_FS_PSO_Pin, GPIO_PIN_RESET);

  /*Configure GPIO pin Output Level */
  HAL_GPIO_WritePin(ACP_RST_GPIO_Port, ACP_RST_Pin, GPIO_PIN_RESET);

  /*Configure GPIO pin Output Level */
  HAL_GPIO_WritePin(GPIOD, RDX_Pin|WRX_DCX_Pin, GPIO_PIN_RESET);

  /*Configure GPIO pin Output Level */
  HAL_GPIO_WritePin(GPIOG, LD3_Pin|LD4_Pin, GPIO_PIN_RESET);

  /*Configure GPIO pins : A0_Pin A1_Pin A2_Pin A3_Pin
                           A4_Pin A5_Pin SDNRAS_Pin A6_Pin
                           A7_Pin A8_Pin A9_Pin */
  GPIO_InitStruct.Pin = A0_Pin|A1_Pin|A2_Pin|A3_Pin
                          |A4_Pin|A5_Pin|SDNRAS_Pin|A6_Pin
                          |A7_Pin|A8_Pin|A9_Pin;
  GPIO_InitStruct.Mode = GPIO_MODE_AF_PP;
  GPIO_InitStruct.Pull = GPIO_NOPULL;
  GPIO_InitStruct.Speed = GPIO_SPEED_FREQ_VERY_HIGH;
  GPIO_InitStruct.Alternate = GPIO_AF12_FMC;
  HAL_GPIO_Init(GPIOF, &GPIO_InitStruct);

  /*Configure GPIO pins : SPI5_SCK_Pin SPI5_MISO_Pin SPI5_MOSI_Pin */
  GPIO_InitStruct.Pin = SPI5_SCK_Pin|SPI5_MISO_Pin|SPI5_MOSI_Pin;
  GPIO_InitStruct.Mode = GPIO_MODE_AF_PP;
  GPIO_InitStruct.Pull = GPIO_NOPULL;
  GPIO_InitStruct.Speed = GPIO_SPEED_FREQ_LOW;
  GPIO_InitStruct.Alternate = GPIO_AF5_SPI5;
  HAL_GPIO_Init(GPIOF, &GPIO_InitStruct);

  /*Configure GPIO pin : ENABLE_Pin */
  GPIO_InitStruct.Pin = ENABLE_Pin;
  GPIO_InitStruct.Mode = GPIO_MODE_AF_PP;
  GPIO_InitStruct.Pull = GPIO_NOPULL;
  GPIO_InitStruct.Speed = GPIO_SPEED_FREQ_LOW;
  GPIO_InitStruct.Alternate = GPIO_AF14_LTDC;
  HAL_GPIO_Init(ENABLE_GPIO_Port, &GPIO_InitStruct);

  /*Configure GPIO pin : SDNWE_Pin */
  GPIO_InitStruct.Pin = SDNWE_Pin;
  GPIO_InitStruct.Mode = GPIO_MODE_AF_PP;
  GPIO_InitStruct.Pull = GPIO_NOPULL;
  GPIO_InitStruct.Speed = GPIO_SPEED_FREQ_VERY_HIGH;
  GPIO_InitStruct.Alternate = GPIO_AF12_FMC;
  HAL_GPIO_Init(SDNWE_GPIO_Port, &GPIO_InitStruct);

  /*Configure GPIO pins : NCS_MEMS_SPI_Pin CSX_Pin OTG_FS_PSO_Pin */
  GPIO_InitStruct.Pin = NCS_MEMS_SPI_Pin|CSX_Pin|OTG_FS_PSO_Pin;
  GPIO_InitStruct.Mode = GPIO_MODE_OUTPUT_PP;
  GPIO_InitStruct.Pull = GPIO_NOPULL;
  GPIO_InitStruct.Speed = GPIO_SPEED_FREQ_LOW;
  HAL_GPIO_Init(GPIOC, &GPIO_InitStruct);

  /*Configure GPIO pins : B1_Pin MEMS_INT1_Pin MEMS_INT2_Pin TP_INT1_Pin */
  GPIO_InitStruct.Pin = B1_Pin|MEMS_INT1_Pin|MEMS_INT2_Pin|TP_INT1_Pin;
  GPIO_InitStruct.Mode = GPIO_MODE_EVT_RISING;
  GPIO_InitStruct.Pull = GPIO_NOPULL;
  HAL_GPIO_Init(GPIOA, &GPIO_InitStruct);

  /*Configure GPIO pins : B5_Pin VSYNC_Pin G2_Pin R4_Pin
                           R5_Pin */
  GPIO_InitStruct.Pin = B5_Pin|VSYNC_Pin|G2_Pin|R4_Pin
                          |R5_Pin;
  GPIO_InitStruct.Mode = GPIO_MODE_AF_PP;
  GPIO_InitStruct.Pull = GPIO_NOPULL;
  GPIO_InitStruct.Speed = GPIO_SPEED_FREQ_LOW;
  GPIO_InitStruct.Alternate = GPIO_AF14_LTDC;
  HAL_GPIO_Init(GPIOA, &GPIO_InitStruct);

  /*Configure GPIO pin : ACP_RST_Pin */
  GPIO_InitStruct.Pin = ACP_RST_Pin;
  GPIO_InitStruct.Mode = GPIO_MODE_OUTPUT_PP;
  GPIO_InitStruct.Pull = GPIO_NOPULL;
  GPIO_InitStruct.Speed = GPIO_SPEED_FREQ_LOW;
  HAL_GPIO_Init(ACP_RST_GPIO_Port, &GPIO_InitStruct);

  /*Configure GPIO pin : OTG_FS_OC_Pin */
  GPIO_InitStruct.Pin = OTG_FS_OC_Pin;
  GPIO_InitStruct.Mode = GPIO_MODE_EVT_RISING;
  GPIO_InitStruct.Pull = GPIO_NOPULL;
  HAL_GPIO_Init(OTG_FS_OC_GPIO_Port, &GPIO_InitStruct);

  /*Configure GPIO pins : R3_Pin R6_Pin */
  GPIO_InitStruct.Pin = R3_Pin|R6_Pin;
  GPIO_InitStruct.Mode = GPIO_MODE_AF_PP;
  GPIO_InitStruct.Pull = GPIO_NOPULL;
  GPIO_InitStruct.Speed = GPIO_SPEED_FREQ_LOW;
  GPIO_InitStruct.Alternate = GPIO_AF9_LTDC;
  HAL_GPIO_Init(GPIOB, &GPIO_InitStruct);

  /*Configure GPIO pin : BOOT1_Pin */
  GPIO_InitStruct.Pin = BOOT1_Pin;
  GPIO_InitStruct.Mode = GPIO_MODE_INPUT;
  GPIO_InitStruct.Pull = GPIO_NOPULL;
  HAL_GPIO_Init(BOOT1_GPIO_Port, &GPIO_InitStruct);

  /*Configure GPIO pins : A10_Pin A11_Pin BA0_Pin BA1_Pin
                           SDCLK_Pin SDNCAS_Pin */
  GPIO_InitStruct.Pin = A10_Pin|A11_Pin|BA0_Pin|BA1_Pin
                          |SDCLK_Pin|SDNCAS_Pin;
  GPIO_InitStruct.Mode = GPIO_MODE_AF_PP;
  GPIO_InitStruct.Pull = GPIO_NOPULL;
  GPIO_InitStruct.Speed = GPIO_SPEED_FREQ_VERY_HIGH;
  GPIO_InitStruct.Alternate = GPIO_AF12_FMC;
  HAL_GPIO_Init(GPIOG, &GPIO_InitStruct);

  /*Configure GPIO pins : D4_Pin D5_Pin D6_Pin D7_Pin
                           D8_Pin D9_Pin D10_Pin D11_Pin
                           D12_Pin NBL0_Pin NBL1_Pin */
  GPIO_InitStruct.Pin = D4_Pin|D5_Pin|D6_Pin|D7_Pin
                          |D8_Pin|D9_Pin|D10_Pin|D11_Pin
                          |D12_Pin|NBL0_Pin|NBL1_Pin;
  GPIO_InitStruct.Mode = GPIO_MODE_AF_PP;
  GPIO_InitStruct.Pull = GPIO_NOPULL;
  GPIO_InitStruct.Speed = GPIO_SPEED_FREQ_VERY_HIGH;
  GPIO_InitStruct.Alternate = GPIO_AF12_FMC;
  HAL_GPIO_Init(GPIOE, &GPIO_InitStruct);

  /*Configure GPIO pins : G4_Pin G5_Pin B6_Pin B7_Pin */
  GPIO_InitStruct.Pin = G4_Pin|G5_Pin|B6_Pin|B7_Pin;
  GPIO_InitStruct.Mode = GPIO_MODE_AF_PP;
  GPIO_InitStruct.Pull = GPIO_NOPULL;
  GPIO_InitStruct.Speed = GPIO_SPEED_FREQ_LOW;
  GPIO_InitStruct.Alternate = GPIO_AF14_LTDC;
  HAL_GPIO_Init(GPIOB, &GPIO_InitStruct);

  /*Configure GPIO pins : OTG_HS_ID_Pin OTG_HS_DM_Pin OTG_HS_DP_Pin */
  GPIO_InitStruct.Pin = OTG_HS_ID_Pin|OTG_HS_DM_Pin|OTG_HS_DP_Pin;
  GPIO_InitStruct.Mode = GPIO_MODE_AF_PP;
  GPIO_InitStruct.Pull = GPIO_NOPULL;
  GPIO_InitStruct.Speed = GPIO_SPEED_FREQ_LOW;
  GPIO_InitStruct.Alternate = GPIO_AF12_OTG_HS_FS;
  HAL_GPIO_Init(GPIOB, &GPIO_InitStruct);

  /*Configure GPIO pin : VBUS_HS_Pin */
  GPIO_InitStruct.Pin = VBUS_HS_Pin;
  GPIO_InitStruct.Mode = GPIO_MODE_INPUT;
  GPIO_InitStruct.Pull = GPIO_NOPULL;
  HAL_GPIO_Init(VBUS_HS_GPIO_Port, &GPIO_InitStruct);

  /*Configure GPIO pins : D13_Pin D14_Pin D15_Pin D0_Pin
                           D1_Pin D2_Pin D3_Pin */
  GPIO_InitStruct.Pin = D13_Pin|D14_Pin|D15_Pin|D0_Pin
                          |D1_Pin|D2_Pin|D3_Pin;
  GPIO_InitStruct.Mode = GPIO_MODE_AF_PP;
  GPIO_InitStruct.Pull = GPIO_NOPULL;
  GPIO_InitStruct.Speed = GPIO_SPEED_FREQ_VERY_HIGH;
  GPIO_InitStruct.Alternate = GPIO_AF12_FMC;
  HAL_GPIO_Init(GPIOD, &GPIO_InitStruct);

  /*Configure GPIO pin : TE_Pin */
  GPIO_InitStruct.Pin = TE_Pin;
  GPIO_InitStruct.Mode = GPIO_MODE_INPUT;
  GPIO_InitStruct.Pull = GPIO_NOPULL;
  HAL_GPIO_Init(TE_GPIO_Port, &GPIO_InitStruct);

  /*Configure GPIO pins : RDX_Pin WRX_DCX_Pin */
  GPIO_InitStruct.Pin = RDX_Pin|WRX_DCX_Pin;
  GPIO_InitStruct.Mode = GPIO_MODE_OUTPUT_PP;
  GPIO_InitStruct.Pull = GPIO_NOPULL;
  GPIO_InitStruct.Speed = GPIO_SPEED_FREQ_LOW;
  HAL_GPIO_Init(GPIOD, &GPIO_InitStruct);

  /*Configure GPIO pins : R7_Pin DOTCLK_Pin B3_Pin */
  GPIO_InitStruct.Pin = R7_Pin|DOTCLK_Pin|B3_Pin;
  GPIO_InitStruct.Mode = GPIO_MODE_AF_PP;
  GPIO_InitStruct.Pull = GPIO_NOPULL;
  GPIO_InitStruct.Speed = GPIO_SPEED_FREQ_LOW;
  GPIO_InitStruct.Alternate = GPIO_AF14_LTDC;
  HAL_GPIO_Init(GPIOG, &GPIO_InitStruct);

  /*Configure GPIO pins : HSYNC_Pin G6_Pin R2_Pin */
  GPIO_InitStruct.Pin = HSYNC_Pin|G6_Pin|R2_Pin;
  GPIO_InitStruct.Mode = GPIO_MODE_AF_PP;
  GPIO_InitStruct.Pull = GPIO_NOPULL;
  GPIO_InitStruct.Speed = GPIO_SPEED_FREQ_LOW;
  GPIO_InitStruct.Alternate = GPIO_AF14_LTDC;
  HAL_GPIO_Init(GPIOC, &GPIO_InitStruct);

  /*Configure GPIO pin : I2C3_SDA_Pin */
  GPIO_InitStruct.Pin = I2C3_SDA_Pin;
  GPIO_InitStruct.Mode = GPIO_MODE_AF_OD;
  GPIO_InitStruct.Pull = GPIO_NOPULL;
  GPIO_InitStruct.Speed = GPIO_SPEED_FREQ_LOW;
  GPIO_InitStruct.Alternate = GPIO_AF4_I2C3;
  HAL_GPIO_Init(I2C3_SDA_GPIO_Port, &GPIO_InitStruct);

  /*Configure GPIO pin : I2C3_SCL_Pin */
  GPIO_InitStruct.Pin = I2C3_SCL_Pin;
  GPIO_InitStruct.Mode = GPIO_MODE_AF_OD;
  GPIO_InitStruct.Pull = GPIO_NOPULL;
  GPIO_InitStruct.Speed = GPIO_SPEED_FREQ_LOW;
  GPIO_InitStruct.Alternate = GPIO_AF4_I2C3;
  HAL_GPIO_Init(I2C3_SCL_GPIO_Port, &GPIO_InitStruct);

  /*Configure GPIO pins : STLINK_RX_Pin STLINK_TX_Pin */
  GPIO_InitStruct.Pin = STLINK_RX_Pin|STLINK_TX_Pin;
  GPIO_InitStruct.Mode = GPIO_MODE_AF_PP;
  GPIO_InitStruct.Pull = GPIO_NOPULL;
  GPIO_InitStruct.Speed = GPIO_SPEED_FREQ_VERY_HIGH;
  GPIO_InitStruct.Alternate = GPIO_AF7_USART1;
  HAL_GPIO_Init(GPIOA, &GPIO_InitStruct);

  /*Configure GPIO pins : G7_Pin B2_Pin */
  GPIO_InitStruct.Pin = G7_Pin|B2_Pin;
  GPIO_InitStruct.Mode = GPIO_MODE_AF_PP;
  GPIO_InitStruct.Pull = GPIO_NOPULL;
  GPIO_InitStruct.Speed = GPIO_SPEED_FREQ_LOW;
  GPIO_InitStruct.Alternate = GPIO_AF14_LTDC;
  HAL_GPIO_Init(GPIOD, &GPIO_InitStruct);

  /*Configure GPIO pins : G3_Pin B4_Pin */
  GPIO_InitStruct.Pin = G3_Pin|B4_Pin;
  GPIO_InitStruct.Mode = GPIO_MODE_AF_PP;
  GPIO_InitStruct.Pull = GPIO_NOPULL;
  GPIO_InitStruct.Speed = GPIO_SPEED_FREQ_LOW;
  GPIO_InitStruct.Alternate = GPIO_AF9_LTDC;
  HAL_GPIO_Init(GPIOG, &GPIO_InitStruct);

  /*Configure GPIO pins : LD3_Pin LD4_Pin */
  GPIO_InitStruct.Pin = LD3_Pin|LD4_Pin;
  GPIO_InitStruct.Mode = GPIO_MODE_OUTPUT_PP;
  GPIO_InitStruct.Pull = GPIO_NOPULL;
  GPIO_InitStruct.Speed = GPIO_SPEED_FREQ_LOW;
  HAL_GPIO_Init(GPIOG, &GPIO_InitStruct);

  /*Configure GPIO pins : SDCKE1_Pin SDNE1_Pin */
  GPIO_InitStruct.Pin = SDCKE1_Pin|SDNE1_Pin;
  GPIO_InitStruct.Mode = GPIO_MODE_AF_PP;
  GPIO_InitStruct.Pull = GPIO_NOPULL;
  GPIO_InitStruct.Speed = GPIO_SPEED_FREQ_VERY_HIGH;
  GPIO_InitStruct.Alternate = GPIO_AF12_FMC;
  HAL_GPIO_Init(GPIOB, &GPIO_InitStruct);

}

/* USER CODE BEGIN 4 */

// UART receive callback
void HAL_UART_RxCpltCallback(UART_HandleTypeDef *huart)
{

	// check if the q_data is not full
	if(pdFALSE == xQueueIsQueueFullFromISR(xQueues[QDATA])) {

		//Enqueue the data
		xQueueSendToBackFromISR(xQueues[QDATA], (void *)&user_data, NULL);
	} else {
		if('\n' == user_data) {

			/* Make sure the last byte is \n */
			/* if the byte is not '\n' simply ignore */
			/* Not an ideal method */
			uint8_t temp = 0;
			xQueueReceiveFromISR(xQueues[QDATA], (void *)&temp, NULL);
			xQueueSendToBackFromISR(xQueues[QDATA], (void *)&user_data, NULL);
		}
	}

	if('\n' == user_data) {

		// Notify the command handler task
		xTaskNotifyFromISR(xTaskHandles[TCMD], 0x00, eNoAction, NULL);
	}

	// Enable UART data byte reception again
	HAL_UART_Receive_IT(&huart5, &user_data, sizeof(user_data));
}

/* USER CODE END 4 */

void HAL_TIM_PeriodElapsedCallback(TIM_HandleTypeDef *htim)
{
  if (htim->Instance == TIM6) {
    HAL_IncTick();
  }
}

void Error_Handler(void)
{
  __disable_irq();
  while (1)
  {
  }
}
